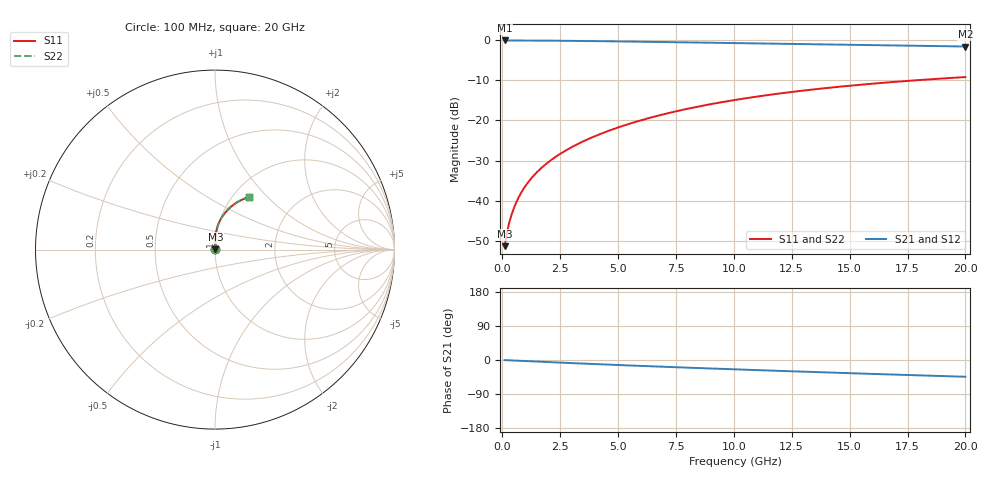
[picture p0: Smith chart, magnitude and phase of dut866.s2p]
! Touchstone file exported from HFSS 2024.1.0
!  File:  C:/UserFiles/LocalFiles/RDL_TSV_Batchsim/temp_RDL_top_866_1779856236.aedt
!  Generated:  12:32:49 PM May 27, 2026
!  Design:  RDL_top
!  Project:  temp_RDL_top_866_1779856236
!  Setup:  Setup1
!  Solution:  Sweep
! Variables:
!  dtsv = 10.80580581um
!  hbump = 3um
!  htsv = 80um
!  ldown = 100um
!  lrdl = 648.69um
!  p = 40
!  p1 = 55.06um
!  rhole = 1um
!  t = 450um
!  tdown = 3.915915916um
!  trdl = 4.52um
!  wdown = 15.38538539um
!  wrdl = 27.09um
# GHz S MA R 50.000000
! Terminal data exported
! Port[1] = Box2_T1
! Port[2] = Box2_T2
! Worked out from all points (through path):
!   200 points, 100 MHz to 20 GHz, reference 50 ohm
!   highest |S21| = -0.02 dB at 100 MHz (marker M1); lowest = -1.5 dB at 20 GHz (marker M2)
!   group delay of S21, straight-line fit = 6.06 ps
!   lowest |S11| = -51.4 dB at 100 MHz (marker M3), VSWR 1.01, Z = 50.2 + j0.171 ohm
!   |S11| at or under -10 dB: start of sweep to 17.77 GHz
!   |S22| runs from -51.4 to -9.1 dB; largest |S21 - S12| = 7.2e-15
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0.1  0.002699 39.2  0.9979 -0.3  0.9979 -0.3  0.002699 39.2
! Gamma 0 0 0 0
! Port Impedance 50 0 50 0
0.2  0.003973 55.5  0.9977 -0.6  0.9977 -0.6  0.003973 55.5
0.3  0.005309 63.5  0.9975 -0.9  0.9975 -0.9  0.005308 63.5
0.4  0.006665 68.5  0.9973 -1.1  0.9973 -1.1  0.006665 68.6
0.5  0.008045 72.1  0.9971 -1.4  0.9971 -1.4  0.008045 72.1
0.6  0.009448 74.8  0.997 -1.7  0.997 -1.7  0.009448 74.8
0.8  0.01231 78.4  0.9966 -2.2  0.9966 -2.2  0.01231 78.4
1.1  0.0167 81.7  0.9958 -3.1  0.9958 -3.1  0.0167 81.7
1.5  0.02269 84.2  0.9944 -4.2  0.9944 -4.2  0.0227 84.2
2.1  0.03196 86.2  0.9918 -5.8  0.9918 -5.8  0.03196 86.3
2.7  0.04157 87.3  0.9884 -7.4  0.9884 -7.4  0.04158 87.3
3.5  0.05497 87.9  0.983 -9.5  0.983 -9.5  0.05499 87.9
4.2  0.06723 87.8  0.9776 -11.3  0.9776 -11.3  0.06726 87.9
5  0.08182 87.3  0.971 -13.2  0.971 -13.2  0.08187 87.4
5.9  0.09884 86.3  0.9631 -15.4  0.9631 -15.4  0.0989 86.4
6.8  0.1163 85.0  0.955 -17.5  0.955 -17.5  0.1164 85.0
8.4  0.1479 82.0  0.9404 -21.1  0.9404 -21.1  0.1481 82.0
10.1  0.1815 78.3  0.925 -24.8  0.925 -24.8  0.1816 78.4
11.7  0.2122 74.8  0.9106 -28.2  0.9106 -28.2  0.2124 74.8
13.4  0.2436 71.0  0.8954 -31.6  0.8954 -31.6  0.2438 71.0
16.7  0.2995 63.8  0.8666 -38.1  0.8666 -38.1  0.2999 63.9
20  0.3484 57.1  0.8387 -44.2  0.8387 -44.2  0.3489 57.1
